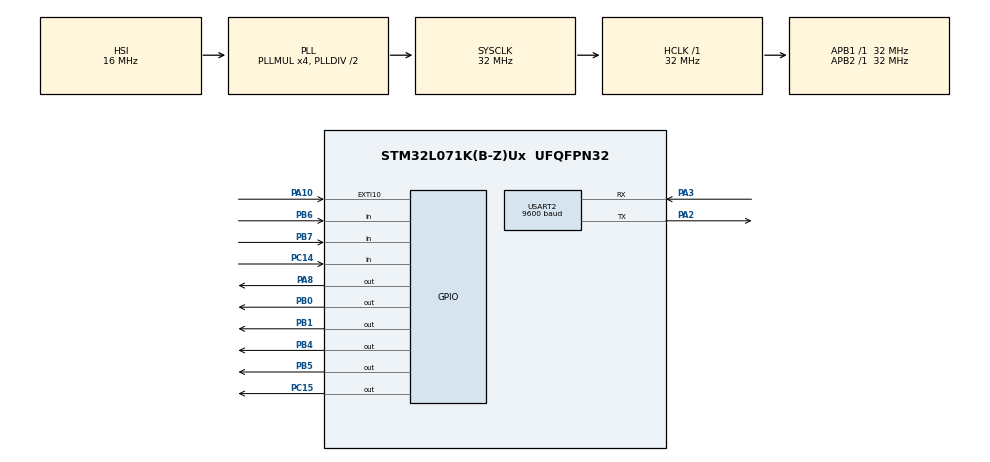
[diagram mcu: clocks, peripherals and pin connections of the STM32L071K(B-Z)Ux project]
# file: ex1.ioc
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Dma.MEMTOMEM.0.Direction=DMA_MEMORY_TO_MEMORY
Dma.MEMTOMEM.0.Instance=DMA1_Channel1
Dma.MEMTOMEM.0.MemDataAlignment=DMA_MDATAALIGN_BYTE
Dma.MEMTOMEM.0.MemInc=DMA_MINC_ENABLE
Dma.MEMTOMEM.0.Mode=DMA_NORMAL
Dma.MEMTOMEM.0.PeriphDataAlignment=DMA_PDATAALIGN_BYTE
Dma.MEMTOMEM.0.PeriphInc=DMA_PINC_ENABLE
Dma.MEMTOMEM.0.Priority=DMA_PRIORITY_LOW
Dma.Request0=MEMTOMEM
Dma.Request1=USART2_RX
Dma.USART2_RX.1.Direction=DMA_PERIPH_TO_MEMORY
Dma.USART2_RX.1.Instance=DMA1_Channel5
Dma.USART2_RX.1.MemDataAlignment=DMA_MDATAALIGN_BYTE
Dma.USART2_RX.1.MemInc=DMA_MINC_ENABLE
Dma.USART2_RX.1.Mode=DMA_CIRCULAR
Dma.USART2_RX.1.PeriphDataAlignment=DMA_PDATAALIGN_BYTE
Dma.USART2_RX.1.PeriphInc=DMA_PINC_DISABLE
Dma.USART2_RX.1.Priority=DMA_PRIORITY_LOW
Mcu.Family=STM32L0
Mcu.Name=STM32L071K(B-Z)Ux
Mcu.Package=UFQFPN32
NVIC.DMA1_Channel1_IRQn=true\:0\:0\:false\:false\:true\:true\:true
NVIC.DMA1_Channel4_5_6_7_IRQn=true\:0\:0\:false\:false\:true\:false\:true
NVIC.EXTI4_15_IRQn=true\:0\:0\:false\:false\:true\:true\:true
NVIC.TIM6_IRQn=true\:0\:0\:false\:false\:true\:true\:true
NVIC.TIM7_IRQn=true\:0\:0\:false\:false\:true\:true\:true
NVIC.USART2_IRQn=true\:0\:0\:false\:false\:true\:true\:true
PA10.Signal=GPXTI10
PA13.Mode=Serial_Wire
PA13.Signal=SYS_SWDIO
PA14.Mode=Serial_Wire
PA14.Signal=SYS_SWCLK
PA2.Mode=Asynchronous
PA2.Signal=USART2_TX
PA3.Mode=Asynchronous
PA3.Signal=USART2_RX
PA8.Signal=GPIO_Output
PB0.Signal=GPIO_Output
PB1.Signal=GPIO_Output
PB4.Signal=GPIO_Output
PB5.Signal=GPIO_Output
PB6.Signal=GPIO_Input
PB7.Signal=GPIO_Input
PC14-OSC32_IN.Signal=GPIO_Input
PC15-OSC32_OUT.Signal=GPIO_Output
ProjectManager.HeapSize=0x200
ProjectManager.StackSize=0x400
ProjectManager.TargetToolchain=MDK-ARM V5
RCC.AHBFreq_Value=32000000
RCC.APB1Freq_Value=32000000
RCC.APB1TimFreq_Value=32000000
RCC.APB2Freq_Value=32000000
RCC.APB2TimFreq_Value=32000000
RCC.HCLKFreq_Value=32000000
RCC.HSI16_VALUE=16000000
RCC.HSI_VALUE=16000000
RCC.LSE_VALUE=32768
RCC.MSI_VALUE=2097000
RCC.PLLMUL=RCC_PLLMUL_4
RCC.SYSCLKFreq_VALUE=32000000
RCC.SYSCLKSource=RCC_SYSCLKSOURCE_PLLCLK
RCC.VCOOutputFreq_Value=64000000
RTC.Format=RTC_FORMAT_BIN
RTC.SynchPrediv=307
TIM6.Period=999
TIM6.Prescaler=31
TIM7.Period=999
TIM7.Prescaler=31
USART2.BaudRate=9600
USART2.VirtualMode-Asynchronous=VM_ASYNC
VP_CRC_VS_CRC.Mode=CRC_Activate
VP_RTC_VS_RTC_Activate.Mode=RTC_Enabled
VP_RTC_VS_RTC_Calendar.Mode=RTC_Calendar
VP_TIM6_VS_ClockSourceINT.Mode=Enable_Timer
VP_TIM7_VS_ClockSourceINT.Mode=Enable_Timer
board=custom

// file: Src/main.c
/* USER CODE BEGIN Header */
/**
  ******************************************************************************
  * @file           : main.c
  * @brief          : Main program body
  ******************************************************************************
  * @attention
  *
  * <h2><center>&copy; Copyright (c) 2019 STMicroelectronics.
  * All rights reserved.</center></h2>
  *
  * This software component is licensed by ST under BSD 3-Clause license,
  * the "License"; You may not use this file except in compliance with the
  * License. You may obtain a copy of the License at:
  *                        opensource.org/licenses/BSD-3-Clause
  *
  ******************************************************************************
  */
/* USER CODE END Header */

#include "main.h"
#include "crc.h"
#include "dma.h"
#include "rtc.h"
#include "tim.h"
#include "usart.h"
#include "gpio.h"

/* USER CODE BEGIN Includes */
#include "stm32l0xx_hal.h"
#include "zm4xx_gpio.h"
#include "spi.h"
#include "timer.h"
#include "stddef.h"
#include "sx127x_lora.h"
#include "key.h"
#include "oled.h"
/* USER CODE END Includes */

/* USER CODE BEGIN PTD */
#define FREQ  (433000000)
void SystemClock_Config(void);
void Hardware_Init(void);
radio_handle_t  handle;
 int ret = RADIO_RET_OK;

    uint16_t len = 0;
		uint8_t rx[150];
		uint8_t tx = 0x55;
		uint8_t cntr = 0;
	unsigned int time_i=0,time_20ms=1,time_100ms=1,time_600ms;
	unsigned int lora_flag=0;
	unsigned char send[100]="123",reply[100],usar_flag=0,enter[]="\r\n";
/* USER CODE END PTD */

void SystemClock_Config(void);

/* USER CODE BEGIN 0 */
void Task_BrdInit(void)
{
    HAL_GPIO_WritePin(GPIOC, GPIO_PIN_15, GPIO_PIN_SET);

    OLED_PowerControl(ENABLE);

    HAL_Delay(200);
    OLED_Init();
    OLED_Clear();

    OLED_ShowString(0, 0, (unsigned char *)"                ", 16);
    OLED_ShowString(0, 2, (unsigned char *)"                ", 16);
}
void LoRa_Init(void)
{

	handle = radio_zm4xx_inst_init(spi_recv_byte,spi_send_byte,zm4xx_rst_pin_set,zm4xx_sel_pin_set,delay_ms,delay_us);

	if(handle != NULL){
		if(RADIO_RET_OK == radio_freq_set(handle, FREQ)){
				HAL_GPIO_WritePin(GPIOC, GPIO_PIN_15,GPIO_PIN_RESET);
		}

		radio_mode_set(handle, RX_MODE);	//Receive Mode
	}
}
void key(void);
void terminal(void);
/* USER CODE END 0 */

int main(void)
{
  /* USER CODE BEGIN 1 */
    char lcdLine_1st_line[16];
    char lcdLine_2st_line[16];

  /* USER CODE END 1 */

  /* MCU Configuration--------------------------------------------------------*/

  /* Reset of all peripherals, Initializes the Flash interface and the Systick. */
  HAL_Init();

  /* Configure the system clock */
  SystemClock_Config();

  /* Initialize all configured peripherals */
  MX_GPIO_Init();
  MX_DMA_Init();
  MX_CRC_Init();
  MX_USART2_UART_Init();
  MX_RTC_Init();
  MX_TIM6_Init();
  MX_TIM7_Init();
  /* USER CODE BEGIN 2 */
    Task_BrdInit();
		zm4xx_pin_init(); //LORA��Ҫ
    spi_init();//LORA��Ҫ
		LoRa_Init();
		HAL_TIM_Base_Start_IT(&htim6);
		HAL_TIM_Base_Start_IT(&htim7);
		__HAL_UART_CLEAR_IDLEFLAG(&huart2);
		__HAL_UART_ENABLE_IT(&huart2,UART_IT_IDLE);
		HAL_UART_Transmit(&huart2,send,strlen((char *)send),100);
		HAL_UART_Receive_DMA(&huart2,reply,strlen((char *)reply));
		sprintf(lcdLine_1st_line, "GXCT IOT    ");
		sprintf(lcdLine_2st_line, "Hello World    ");
  /* USER CODE END 2 */

  /* Infinite loop */
    while (1)
    {

    /* USER CODE BEGIN 3 */
			key();
			if(time_100ms==1)
			{
				time_100ms=0;
				sprintf(lcdLine_2st_line, "Hello World    ");
				OLED_ShowString(0, 0, (unsigned char *)rx, 16);
				OLED_ShowString(0, 2, (unsigned char *)lcdLine_2st_line, 16);
			}
//			if(time_20ms==1)
//			{
//				key_scan();
//				time_20ms=0;
//			}

			terminal();
    }
  /* USER CODE END 3 */
}

/* USER CODE BEGIN 4 */
void terminal()
{
	if(lora_flag==1)
	{
		HAL_UART_Transmit(&huart2,rx,len,100);
		HAL_UART_Transmit(&huart2,enter,strlen((char *)enter),100);
		lora_flag=0;
	}
}
void key()
{
	if(key_flag!=0)
	{
//		HAL_NVIC_DisableIRQ(EXTI4_15_IRQn);
		sprintf((char *)send, "%2d",key_flag);
		radio_buf_send(handle, (unsigned char *)send, strlen((char *)send));
		radio_mode_set(handle, RX_MODE);
//		HAL_NVIC_EnableIRQ(EXTI4_15_IRQn);
		key_flag=0;
//		HAL_Delay(50);
	}
}
void rx2()
{
	if(__HAL_UART_GET_FLAG(&huart2,UART_IT_IDLE))
	{
		__HAL_UART_CLEAR_IDLEFLAG(&huart2);
		HAL_UART_DMAStop(&huart2);
		usar_flag=1;
		HAL_UART_Receive_DMA(&huart2,reply,strlen((char *)reply));
	}
}
void HAL_TIM_PeriodElapsedCallback(TIM_HandleTypeDef *htim)
{
	static unsigned int time1=0;
//	if(htim->Instance==TIM6)
//	{
//		time_i++;
//		if(time_i==500)	time_i=0;
//		if(time_i%50==0)
//		{
////			time_i=1;
//			time_100ms=1;
//		}
//		if(time_100ms==0)
//			key_scan();
//	}
	if(htim->Instance==TIM7)
	{
		time1++;
//		if(time1==9999) time1=0;
		if(time1%300==0)
		{
			time1=1;
			time_100ms=1;
		}
			key_scan();
	}
}
void HAL_GPIO_EXTI_Callback(uint16_t GPIO_Pin)
{
	if(GPIO_Pin==GPIO_PIN_10)
	{
		ret = radio_buf_recv(handle, rx, &len);
		lora_flag=1;
	}
}
/* USER CODE END 4 */

void SystemClock_Config(void)
{
  RCC_OscInitTypeDef RCC_OscInitStruct = {0};
  RCC_ClkInitTypeDef RCC_ClkInitStruct = {0};
  RCC_PeriphCLKInitTypeDef PeriphClkInit = {0};

  /** Configure the main internal regulator output voltage
  */
  __HAL_PWR_VOLTAGESCALING_CONFIG(PWR_REGULATOR_VOLTAGE_SCALE1);
  /** Initializes the CPU, AHB and APB busses clocks
  */
  RCC_OscInitStruct.OscillatorType = RCC_OSCILLATORTYPE_HSI|RCC_OSCILLATORTYPE_LSI;
  RCC_OscInitStruct.HSIState = RCC_HSI_ON;
  RCC_OscInitStruct.HSICalibrationValue = RCC_HSICALIBRATION_DEFAULT;
  RCC_OscInitStruct.LSIState = RCC_LSI_ON;
  RCC_OscInitStruct.PLL.PLLState = RCC_PLL_ON;
  RCC_OscInitStruct.PLL.PLLSource = RCC_PLLSOURCE_HSI;
  RCC_OscInitStruct.PLL.PLLMUL = RCC_PLLMUL_4;
  RCC_OscInitStruct.PLL.PLLDIV = RCC_PLLDIV_2;
  if (HAL_RCC_OscConfig(&RCC_OscInitStruct) != HAL_OK)
  {
    Error_Handler();
  }
  /** Initializes the CPU, AHB and APB busses clocks
  */
  RCC_ClkInitStruct.ClockType = RCC_CLOCKTYPE_HCLK|RCC_CLOCKTYPE_SYSCLK
                              |RCC_CLOCKTYPE_PCLK1|RCC_CLOCKTYPE_PCLK2;
  RCC_ClkInitStruct.SYSCLKSource = RCC_SYSCLKSOURCE_PLLCLK;
  RCC_ClkInitStruct.AHBCLKDivider = RCC_SYSCLK_DIV1;
  RCC_ClkInitStruct.APB1CLKDivider = RCC_HCLK_DIV1;
  RCC_ClkInitStruct.APB2CLKDivider = RCC_HCLK_DIV1;

  if (HAL_RCC_ClockConfig(&RCC_ClkInitStruct, FLASH_LATENCY_1) != HAL_OK)
  {
    Error_Handler();
  }
  PeriphClkInit.PeriphClockSelection = RCC_PERIPHCLK_USART2|RCC_PERIPHCLK_RTC;
  PeriphClkInit.Usart2ClockSelection = RCC_USART2CLKSOURCE_PCLK1;
  PeriphClkInit.RTCClockSelection = RCC_RTCCLKSOURCE_LSI;
  if (HAL_RCCEx_PeriphCLKConfig(&PeriphClkInit) != HAL_OK)
  {
    Error_Handler();
  }
}

void Error_Handler(void)
{
}

/************************ (C) COPYRIGHT STMicroelectronics *****END OF FILE****/
